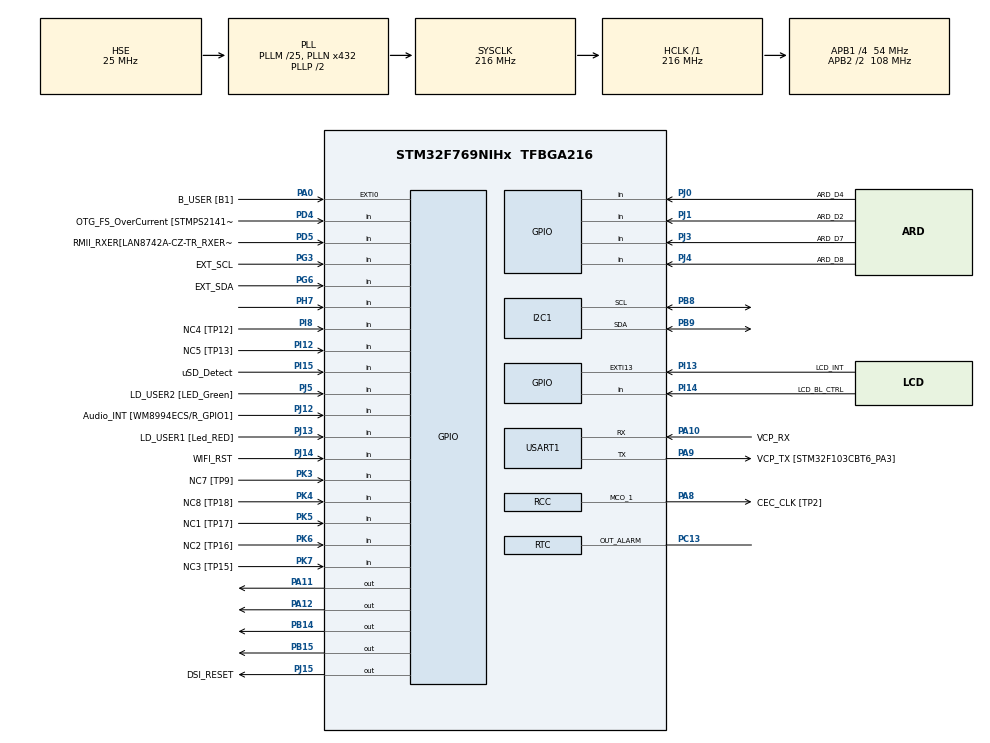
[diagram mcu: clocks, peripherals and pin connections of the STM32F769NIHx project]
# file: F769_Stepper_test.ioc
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DSIHOST_CKN.GPIO_Label=DSI_CK_N
DSIHOST_CKN.Signal=DSIHOST_CKN
DSIHOST_CKP.GPIO_Label=DSI_CK_P
DSIHOST_CKP.Signal=DSIHOST_CKP
DSIHOST_D0N.GPIO_Label=DSI_D0_N
DSIHOST_D0N.Signal=DSIHOST_D0N
DSIHOST_D0P.GPIO_Label=DSI_D0_p
DSIHOST_D0P.Signal=DSIHOST_D0P
DSIHOST_D1N.GPIO_Label=DSI_D1_N
DSIHOST_D1N.Signal=DSIHOST_D1N
DSIHOST_D1P.GPIO_Label=DSI_D1_P
DSIHOST_D1P.Signal=DSIHOST_D1P
I2C1.Timing=0x20404768
Mcu.Family=STM32F7
Mcu.Name=STM32F769NIHx
Mcu.Package=TFBGA216
NVIC.PriorityGroup=NVIC_PRIORITYGROUP_4
NVIC.TIM6_DAC_IRQn=true\:0\:0\:false\:false\:true\:false\:true
NVIC.TimeBase=TIM6_DAC_IRQn
NVIC.TimeBaseIP=TIM6
PA0/WKUP.GPIO_Label=B_USER [B1]
PA0/WKUP.Signal=GPXTI0
PA1.GPIO_Label=RMII_REF_CLK [LAN8742A-CZ-TR_REFCLK0]
PA1.Signal=ETH_REF_CLK
PA10.GPIO_Label=VCP_RX 
PA10.Mode=Asynchronous
PA10.Signal=USART1_RX
PA11.Signal=GPIO_Output
PA12.Signal=GPIO_Output
PA13.GPIO_Label=SWDIO
PA13.Mode=Serial_Wire
PA13.Signal=SYS_JTMS-SWDIO
PA14.GPIO_Label=SWCLK
PA14.Mode=Serial_Wire
PA14.Signal=SYS_JTCK-SWCLK
PA15.GPIO_Label=CEC
PA15.Signal=CEC
PA2.GPIO_Label=RMII_MDIO [LAN8742A-CZ-TR_MDIO]
PA2.Signal=ETH_MDIO
PA3.GPIO_Label=ULPI_D0 [USB3320C-EZK_D0]
PA3.Signal=USB_OTG_HS_ULPI_D0
PA4.GPIO_Label=ARD_A1
PA4.Signal=ADCx_IN4
PA5.GPIO_Label=ULPI_CLK [USB3320C-EZK_CLKOUT]
PA5.Signal=USB_OTG_HS_ULPI_CK
PA6.GPIO_Label=ARD_A0
PA6.Signal=ADCx_IN6
PA7.GPIO_Label=RMII_CRS_DV [LAN8742A-CZ-TR_CRS_DV]
PA7.Signal=ETH_CRS_DV
PA8.GPIO_Label=CEC_CLK [TP2]
PA8.Mode=Clock-out-1
PA8.Signal=RCC_MCO_1
PA9.GPIO_Label=VCP_TX [STM32F103CBT6_PA3]
PA9.GPIO_Mode=GPIO_MODE_AF_PP
PA9.GPIO_PuPd=GPIO_NOPULL
PA9.GPIO_Speed=GPIO_SPEED_FREQ_LOW
PA9.Mode=Asynchronous
PA9.Signal=USART1_TX
PB0.GPIO_Label=ULPI_D1 [USB3320C-EZK_D1]
PB0.Signal=USB_OTG_HS_ULPI_D1
PB1.GPIO_Label=ULPI_D2 [USB3320C-EZK_D2]
PB1.Signal=USB_OTG_HS_ULPI_D2
PB10.GPIO_Label=ULPI_D3 [USB3320C-EZK_D3]
PB10.Signal=USB_OTG_HS_ULPI_D3
PB11.GPIO_Label=ULPI_D4 [USB3320C-EZK_D4]
PB11.Signal=USB_OTG_HS_ULPI_D4
PB12.GPIO_Label=ULPI_D5 [USB3320C-EZK_D5]
PB12.Signal=USB_OTG_HS_ULPI_D5
PB13.GPIO_Label=ULPI_D6 [USB3320C-EZK_D6]
PB13.Signal=USB_OTG_HS_ULPI_D6
PB14.Signal=GPIO_Output
PB15.Signal=GPIO_Output
PB2.Signal=QUADSPI_CLK
PB3.GPIO_Label=uSD_D2
PB3.Signal=SDMMC2_D2
PB4.GPIO_Label=uSD_D3
PB4.Signal=SDMMC2_D3
PB5.GPIO_Label=ULPI_D7 [USB3320C-EZK_D7]
PB5.Signal=USB_OTG_HS_ULPI_D7
PB6.GPIO_Label=QSPI_NCS [N25Q128A13EF840E_S]
PB6.Signal=QUADSPI_BK1_NCS
PB8.Mode=I2C
PB8.Signal=I2C1_SCL
PB9.Mode=I2C
PB9.Signal=I2C1_SDA
PC0.GPIO_Label=ULPI_STP [USB3320C-EZK_STP]
PC0.Signal=USB_OTG_HS_ULPI_STP
PC1.GPIO_Label=RMII_MDC [LAN8742A-CZ-TR_MDC]
PC1.Signal=ETH_MDC
PC10.GPIO_Label=QSPI_D1 [MT25QL512ABB1EW9_DQ1]
PC10.Signal=QUADSPI_BK1_IO1
PC11.GPIO_Label=DFSDM_DATIN5 [TP5]
PC11.Signal=S_DATAIN5DFSDM1
PC12.GPIO_Label=WIFI_RX
PC12.Signal=UART5_TX
PC13.Mode=AlarmA_RoutedAF
PC13.Signal=RTC_OUT_ALARM
PC14/OSC32_IN.GPIO_Label=RCC_OSC32_IN
PC14/OSC32_IN.Mode=LSE-External-Oscillator
PC14/OSC32_IN.Signal=RCC_OSC32_IN
PC15/OSC32_OUT.GPIO_Label=RCC_OSC32_OUT
PC15/OSC32_OUT.Mode=LSE-External-Oscillator
PC15/OSC32_OUT.Signal=RCC_OSC32_OUT
PC2.GPIO_Label=ARD_A2
PC2.Signal=ADCx_IN12
PC4.GPIO_Label=RMII_RXD0 [LAN8742A-CZ-TR_RXD0]
PC4.Signal=ETH_RXD0
PC5.GPIO_Label=RMII_RXD1 [LAN8742A-CZ-TR_RXD1]
PC5.Signal=ETH_RXD1
PC6.GPIO_Label=ARDUINO TX/D1
PC6.Signal=USART6_TX
PC7.GPIO_Label=ARD_D0/RX
PC7.Signal=USART6_RX
PC8.GPIO_Label=ARD_D5/PWM
PC8.Signal=S_TIM3_CH3
PC9.GPIO_Label=QSPI_D0 [N25Q128A13EF840E_DQ0]
PC9.Signal=QUADSPI_BK1_IO0
PD0.GPIO_Label=FMC_D2 [MT48LC4M32B2B5-6A_DQ2]
PD0.Signal=FMC_D2_DA2
PD1.GPIO_Label=FMC_D3 [MT48LC4M32B2B5-6A_DQ3]
PD1.Signal=FMC_D3_DA3
PD10.GPIO_Label=FMC_D15 [MT48LC4M32B2B5-6A_DQ15]
PD10.Signal=FMC_D15_DA15
PD11.GPIO_Label=SPDIF_TX [TP20]
PD11.Signal=SAI2_SD_A
PD13.GPIO_Label=QSPI_D3 [N25Q128A13EF840E_DQ3]
PD13.Signal=QUADSPI_BK1_IO3
PD14.GPIO_Label=FMC_D0 [MT48LC4M32B2B5-6A_DQ0]
PD14.Signal=FMC_D0_DA0
PD15.GPIO_Label=FMC_D1 [MT48LC4M32B2B5-6A_DQ1]
PD15.Signal=FMC_D1_DA1
PD2.GPIO_Label=WIFI_TX
PD2.Signal=UART5_RX
PD3.GPIO_Label=DFSDM_CKOUT [TP102]
PD3.Signal=S_CKOUTDFSDM1
PD4.GPIO_Label=OTG_FS_OverCurrent [STMPS2141STR_Fault]
PD4.Signal=GPIO_Input
PD5.GPIO_Label=RMII_RXER[LAN8742A-CZ-TR_RXERR]
PD5.Signal=GPIO_Input
PD6.GPIO_Label=uSD_CLK
PD6.Signal=SDMMC2_CK
PD7.GPIO_Label=uSD_CMD
PD7.Signal=SDMMC2_CMD
PD8.GPIO_Label=FMC_D13 [MT48LC4M32B2B5-6A_DQ13]
PD8.Signal=FMC_D13_DA13
PD9.GPIO_Label=FMC_D14 [MT48LC4M32B2B5-6A_DQ14]
PD9.Signal=FMC_D14_DA14
PE0.GPIO_Label=FMC_NBL0 [MT48LC4M32B2B5-6A_DQM0]
PE0.Signal=FMC_NBL0
PE1.GPIO_Label=FMC_NBL1 [MT48LC4M32B2B5-6A_DQM1]
PE1.Signal=FMC_NBL1
PE10.GPIO_Label=FMC_D7 [MT48LC4M32B2B5-6A_DQ7]
PE10.Signal=FMC_D7_DA7
PE11.GPIO_Label=FMC_D8 [MT48LC4M32B2B5-6A_DQ8]
PE11.Signal=FMC_D8_DA8
PE12.GPIO_Label=FMC_D9 [MT48LC4M32B2B5-6A_DQ9]
PE12.Signal=FMC_D9_DA9
PE13.GPIO_Label=FMC_D10 [MT48LC4M32B2B5-6A_DQ10]
PE13.Signal=FMC_D10_DA10
PE14.GPIO_Label=FMC_D11 [MT48LC4M32B2B5-6A_DQ11]
PE14.Signal=FMC_D11_DA11
PE15.GPIO_Label=FMC_D12 [MT48LC4M32B2B5-6A_DQ12]
PE15.Signal=FMC_D12_DA12
PE2.GPIO_Label=QSPI_D2 [N25Q128A13EF840E_DQ2]
PE2.Signal=QUADSPI_BK1_IO2
PE3.GPIO_Label=SAI1_SDB [WM8994ECS/R_ADCDAT1]
PE3.Signal=SAI1_SD_B
PE4.GPIO_Label=SAI1_FSA [WM8994ECS/R_LRCLK1]
PE4.Signal=SAI1_FS_A
PE5.GPIO_Label=SAI1_SCKA [WM8994ECS/R_BCLK1]
PE5.Signal=SAI1_SCK_A
PE6.GPIO_Label=SAI1_SDA [WM8994ECS/R_DACDAT1]
PE6.Signal=SAI1_SD_A
PE7.GPIO_Label=FMC_D4 [MT48LC4M32B2B5-6A_DQ4]
PE7.Signal=FMC_D4_DA4
PE8.GPIO_Label=FMC_D5 [MT48LC4M32B2B5-6A_DQ5]
PE8.Signal=FMC_D5_DA5
PE9.GPIO_Label=FMC_D6 [MT48LC4M32B2B5-6A_DQ6]
PE9.Signal=FMC_D6_DA6
PF0.GPIO_Label=FMC_A0 [MT48LC4M32B2B5-6A_A0]
PF0.Signal=FMC_A0
PF1.GPIO_Label=FMC_A1 [MT48LC4M32B2B5-6A_A1]
PF1.Signal=FMC_A1
PF10.GPIO_Label=ARDUINO A1
PF10.GPIO_Mode=GPIO_MODE_ANALOG
PF10.GPIO_PuPd=GPIO_NOPULL
PF10.Signal=ADC3_IN8
PF11.GPIO_Label=FMC_SDNRAS [MT48LC4M32B2B5-6A_RAS]
PF11.Signal=FMC_SDNRAS
PF12.GPIO_Label=FMC_A6 [MT48LC4M32B2B5-6A_A6]
PF12.Signal=FMC_A6
PF13.GPIO_Label=FMC_A7 [MT48LC4M32B2B5-6A_A7]
PF13.Signal=FMC_A7
PF14.GPIO_Label=FMC_A8 [MT48LC4M32B2B5-6A_A8]
PF14.Signal=FMC_A8
PF15.GPIO_Label=FMC_A9 [MT48LC4M32B2B5-6A_A9]
PF15.Signal=FMC_A9
PF2.GPIO_Label=FMC_A2 [MT48LC4M32B2B5-6A_A2]
PF2.Signal=FMC_A2
PF3.GPIO_Label=FMC_A3 [MT48LC4M32B2B5-6A_A3]
PF3.Signal=FMC_A3
PF4.GPIO_Label=FMC_A4 [MT48LC4M32B2B5-6A_A4]
PF4.Signal=FMC_A4
PF5.GPIO_Label=FMC_A5 [MT48LC4M32B2B5-6A_A5]
PF5.Signal=FMC_A5
PF6.GPIO_Label=ARD_D3/PWM
PF6.Signal=S_TIM10_CH1
PF7.GPIO_Label=ARD_D6/PWM
PF7.Signal=S_TIM11_CH1
PF8.GPIO_Label=ARDUINO A3
PF8.GPIO_Mode=GPIO_MODE_ANALOG
PF8.GPIO_PuPd=GPIO_NOPULL
PF8.Signal=ADC3_IN6
PF9.GPIO_Label=ARDUINO A2
PF9.GPIO_Mode=GPIO_MODE_ANALOG
PF9.GPIO_PuPd=GPIO_NOPULL
PF9.Signal=ADC3_IN7
PG0.GPIO_Label=FMC_A10 [MT48LC4M32B2B5-6A_A10]
PG0.Signal=FMC_A10
PG1.GPIO_Label=FMC_A11 [MT48LC4M32B2B5-6A_A11]
PG1.Signal=FMC_A11
PG10.GPIO_Label=uSD_D1
PG10.Signal=SDMMC2_D1
PG11.GPIO_Label=RMII_TX_EN [LAN8742A-CZ-TR_TXEN]
PG11.Signal=ETH_TX_EN
PG13.GPIO_Label=RMII_TXD0 [LAN8742A-CZ-TR_TXD0]
PG13.Signal=ETH_TXD0
PG14.GPIO_Label=RMII_TXD1 [LAN8742A-CZ-TR_TXD1]
PG14.Signal=ETH_TXD1
PG15.GPIO_Label=FMC_SDNCAS [MT48LC4M32B2B5-6A_CAS]
PG15.Signal=FMC_SDNCAS
PG2.GPIO_Label=FMC_A12
PG2.Signal=FMC_A12
PG3.GPIO_Label=EXT_SCL
PG3.Signal=GPIO_Input
PG4.GPIO_Label=FMC_BA0 [MT48LC4M32B2B5-6A_BA0]
PG4.Signal=FMC_A14_BA0
PG5.GPIO_Label=FMC_BA1 [MT48LC4M32B2B5-6A_BA1]
PG5.Signal=FMC_A15_BA1
PG6.GPIO_Label=EXT_SDA
PG6.Signal=GPIO_Input
PG7.GPIO_Label=SAI1_MCLKA [WM8994ECS/R_MCLK1]
PG7.Signal=SAI1_MCLK_A
PG8.GPIO_Label=FMC_SDCLK [MT48LC4M32B2B5-6A_CLK]
PG8.Signal=FMC_SDCLK
PG9.GPIO_Label=uSD_D0
PG9.Signal=SDMMC2_D0
PH0/OSC_IN.GPIO_Label=OSC_25M [NZ2520SB-25.00M_OUT]
PH0/OSC_IN.Mode=HSE-External-Oscillator
PH0/OSC_IN.Signal=RCC_OSC_IN
PH1/OSC_OUT.Mode=HSE-External-Oscillator
PH1/OSC_OUT.Signal=RCC_OSC_OUT
PH10.GPIO_Label=FMC_D18 [MT48LC4M32B2B5-6A_DQ18]
PH10.Signal=FMC_D18
PH11.GPIO_Label=FMC_D19 [MT48LC4M32B2B5-6A_DQ19]
PH11.Signal=FMC_D19
PH12.GPIO_Label=D20
PH12.Signal=FMC_D20
PH13.GPIO_Label=D21
PH13.Signal=FMC_D21
PH14.GPIO_Label=D22
PH14.Signal=FMC_D22
PH15.GPIO_Label=D23
PH15.Signal=FMC_D23
PH2.GPIO_Label=FMC_SDCKE0 [MT48LC4M32B2B5-6A_CKE]
PH2.Signal=FMC_SDCKE0
PH3.GPIO_Label=FMC_SDNE0 [MT48LC4M32B2B5-6A_CS]
PH3.Signal=FMC_SDNE0
PH4.GPIO_Label=ULPI_NXT [USB3320C-EZK_NXT]
PH4.Signal=USB_OTG_HS_ULPI_NXT
PH5.GPIO_Label=FMC_SDNME [MT48LC4M32B2B5-6A_WE]
PH5.Signal=FMC_SDNWE
PH6.GPIO_Label=ARDUINO PWM/D6
PH6.Signal=S_TIM12_CH1
PH7.Signal=GPIO_Input
PH8.GPIO_Label=FMC_D16 [MT48LC4M32B2B5-6A_DQ16]
PH8.Signal=FMC_D16
PH9.GPIO_Label=FMC_D\!7 [MT48LC4M32B2B5-6A_DQ17]
PH9.Signal=FMC_D17
PI0.GPIO_Label=D24
PI0.Signal=FMC_D24
PI1.GPIO_Label=D25
PI1.Signal=FMC_D25
PI10.GPIO_Label=D31
PI10.Signal=FMC_D31
PI11.GPIO_Label=ULPI_DIR [USB3320C-EZK_DIR]
PI11.Signal=USB_OTG_HS_ULPI_DIR
PI12.GPIO_Label=NC5 [TP13]
PI12.Signal=GPIO_Input
PI13.GPIO_Label=LCD_INT
PI13.GPIO_ModeDefaultEXTI=GPIO_MODE_EVT_RISING
PI13.Signal=GPXTI13
PI14.GPIO_Label=LCD_BL_CTRL
PI14.Signal=GPIO_Input
PI15.GPIO_Label=uSD_Detect
PI15.Signal=GPIO_Input
PI2.GPIO_Label=D26
PI2.Signal=FMC_D26
PI3.GPIO_Label=D27
PI3.Signal=FMC_D27
PI4.GPIO_Label=FMC_NBL2 [MT48LC4M32B2B5-6A_DQM2]
PI4.Signal=FMC_NBL2
PI5.GPIO_Label=FMC_NBL3 [MT48LC4M32B2B5-6A_DQM3]
PI5.Signal=FMC_NBL3
PI6.GPIO_Label=D28
PI6.Signal=FMC_D28
PI8.GPIO_Label=NC4 [TP12]
PI8.Signal=GPIO_Input
PI9.GPIO_Label=D30
PI9.Signal=FMC_D30
PJ0.GPIO_Label=ARD_D4
PJ0.Signal=GPIO_Input
PJ1.GPIO_Label=ARD_D2
PJ1.Signal=GPIO_Input
PJ12.GPIO_Label=Audio_INT [WM8994ECS/R_GPIO1]
PJ12.Signal=GPIO_Input
PJ13.GPIO_Label=LD_USER1 [Led_RED]
PJ13.Signal=GPIO_Input
PJ14.GPIO_Label=WIFI_RST
PJ14.Signal=GPIO_Input
PJ15.GPIO_Label=DSI_RESET
PJ15.Signal=GPIO_Output
PJ2.GPIO_Label=DSIHOST_TE
PJ2.Signal=DSIHOST_TE
PJ3.GPIO_Label=ARD_D7
PJ3.Signal=GPIO_Input
PJ4.GPIO_Label=ARD_D8
PJ4.Signal=GPIO_Input
PJ5.GPIO_Label=LD_USER2 [LED_Green]
PJ5.Signal=GPIO_Input
PK3.GPIO_Label=NC7 [TP9]
PK3.Signal=GPIO_Input
PK4.GPIO_Label=NC8 [TP18]
PK4.Signal=GPIO_Input
PK5.GPIO_Label=NC1 [TP17]
PK5.Signal=GPIO_Input
PK6.GPIO_Label=NC2 [TP16]
PK6.Signal=GPIO_Input
PK7.GPIO_Label=NC3 [TP15]
PK7.Signal=GPIO_Input
ProjectManager.HeapSize=0x200
ProjectManager.StackSize=0x400
ProjectManager.TargetToolchain=STM32CubeIDE
RCC.AHBFreq_Value=216000000
RCC.APB1CLKDivider=RCC_HCLK_DIV4
RCC.APB1Freq_Value=54000000
RCC.APB1TimFreq_Value=108000000
RCC.APB2CLKDivider=RCC_HCLK_DIV2
RCC.APB2Freq_Value=108000000
RCC.APB2TimFreq_Value=216000000
RCC.CortexFreq_Value=216000000
RCC.HCLKFreq_Value=216000000
RCC.HSE_VALUE=25000000
RCC.HSI_VALUE=16000000
RCC.PLL48CLockSelection=RCC_CLK48SOURCE_PLLSAIP
RCC.PLLM=25
RCC.PLLN=432
RCC.PLLQ=4
RCC.PLLSAIP=RCC_PLLSAIP_DIV4
RCC.PLLSAIQ=3
RCC.PLLSourceVirtual=RCC_PLLSOURCE_HSE
RCC.SDMMC2ClockSelection=RCC_SDMMC2CLKSOURCE_CLK48
RCC.SYSCLKFreq_VALUE=216000000
RCC.SYSCLKSource=RCC_SYSCLKSOURCE_PLLCLK
RCC.USBFreq_Value=48000000
RCC.VCOOutputFreq_Value=432000000
RTC.Alarm-AlarmA_RoutedAF=RTC_ALARM_A
RTC.Alarm_B-Alarm\ B=RTC_ALARM_B
SH.ADCx_IN12.0=ADC1_IN12
SH.ADCx_IN4.0=ADC1_IN4
SH.ADCx_IN6.0=ADC1_IN6
SH.FMC_A0.0=FMC_A0
SH.FMC_A1.0=FMC_A1
SH.FMC_A10.0=FMC_A10
SH.FMC_A11.0=FMC_A11
SH.FMC_A12.0=FMC_A12
SH.FMC_A14_BA0.0=FMC_BA0
SH.FMC_A15_BA1.0=FMC_BA1
SH.FMC_A2.0=FMC_A2
SH.FMC_A3.0=FMC_A3
SH.FMC_A4.0=FMC_A4
SH.FMC_A5.0=FMC_A5
SH.FMC_A6.0=FMC_A6
SH.FMC_A7.0=FMC_A7
SH.FMC_A8.0=FMC_A8
SH.FMC_A9.0=FMC_A9
SH.FMC_D0_DA0.0=FMC_D0
SH.FMC_D10_DA10.0=FMC_D10
SH.FMC_D11_DA11.0=FMC_D11
SH.FMC_D12_DA12.0=FMC_D12
SH.FMC_D13_DA13.0=FMC_D13
SH.FMC_D14_DA14.0=FMC_D14
SH.FMC_D15_DA15.0=FMC_D15
SH.FMC_D16.0=FMC_D16
SH.FMC_D17.0=FMC_D17
SH.FMC_D18.0=FMC_D18
SH.FMC_D19.0=FMC_D19
SH.FMC_D1_DA1.0=FMC_D1
SH.FMC_D20.0=FMC_D20
SH.FMC_D21.0=FMC_D21
SH.FMC_D22.0=FMC_D22
SH.FMC_D23.0=FMC_D23
SH.FMC_D24.0=FMC_D24
SH.FMC_D25.0=FMC_D25
SH.FMC_D26.0=FMC_D26
SH.FMC_D27.0=FMC_D27
SH.FMC_D28.0=FMC_D28
SH.FMC_D2_DA2.0=FMC_D2
SH.FMC_D30.0=FMC_D30
SH.FMC_D31.0=FMC_D31
SH.FMC_D3_DA3.0=FMC_D3
SH.FMC_D4_DA4.0=FMC_D4
SH.FMC_D5_DA5.0=FMC_D5
SH.FMC_D6_DA6.0=FMC_D6
SH.FMC_D7_DA7.0=FMC_D7
SH.FMC_D8_DA8.0=FMC_D8
SH.FMC_D9_DA9.0=FMC_D9
SH.FMC_NBL0.0=FMC_NBL0
SH.FMC_NBL1.0=FMC_NBL1
SH.FMC_NBL2.0=FMC_NBL2
SH.FMC_NBL3.0=FMC_NBL3
SH.FMC_SDCLK.0=FMC_SDCLK
SH.FMC_SDNCAS.0=FMC_SDNCAS
SH.FMC_SDNRAS.0=FMC_SDNRAS
SH.FMC_SDNWE.0=FMC_SDNWE
SH.S_CKOUTDFSDM1.0=DFSDM1_CKOUT
SH.S_DATAIN5DFSDM1.0=DFSDM1_DATIN5
SH.S_TIM10_CH1.0=TIM10_CH1
SH.S_TIM11_CH1.0=TIM11_CH1
SH.S_TIM12_CH1.0=TIM12_CH1
SH.S_TIM3_CH3.0=TIM3_CH3
USART1.VirtualMode-Asynchronous=VM_ASYNC
VP_RTC_VS_RTC_Activate.Mode=RTC_Enabled
VP_RTC_VS_RTC_Alarm_B_Intern.Mode=Alarm B
VP_RTC_VS_RTC_Calendar.Mode=RTC_Calendar
VP_SYS_VS_tim6.Mode=TIM6
VP_TIM1_VS_ClockSourceINT.Mode=Internal
board=32F769IDISCOVERY

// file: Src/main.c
/* USER CODE BEGIN Header */
/**
 ******************************************************************************
 * @file           : main.c
 * @brief          : Main program body
 ******************************************************************************
 * @attention
 *
 * <h2><center>&copy; Copyright (c) 2019 STMicroelectronics.
 * All rights reserved.</center></h2>
 *
 * This software component is licensed by ST under BSD 3-Clause license,
 * the "License"; You may not use this file except in compliance with the
 * License. You may obtain a copy of the License at:
 *                        opensource.org/licenses/BSD-3-Clause
 *
 ******************************************************************************
 */
/* USER CODE END Header */

#include "main.h"
#include <stdio.h>

/* USER CODE BEGIN Includes */
#include "stm32f7xx_hal_uart.h"
//#include "ADXL345_Interface.h"
#include "Environment.h"
#include "Agent.h"
/* USER CODE END Includes */

I2C_HandleTypeDef hi2c1;

RTC_HandleTypeDef hrtc;

TIM_HandleTypeDef htim1;

UART_HandleTypeDef huart1;

void SystemClock_Config(void);
static void MX_GPIO_Init(void);
static void MX_RTC_Init(void);
static void MX_TIM1_Init(void);
static void MX_USART1_UART_Init(void);
static void MX_I2C1_Init(void);
/* USER CODE BEGIN PFP */

int _write(int fd, char *ptr, int len)
{
	HAL_UART_Transmit(&huart1, (uint8_t *)ptr, len, 0xFFFF);
	return len;
}

/* USER CODE END PFP */

int main(void)
{

  /* MCU Configuration--------------------------------------------------------*/

  /* Reset of all peripherals, Initializes the Flash interface and the Systick. */
  HAL_Init();

  /* Configure the system clock */
  SystemClock_Config();

  /* Initialize all configured peripherals */
  MX_GPIO_Init();
  MX_RTC_Init();
  MX_TIM1_Init();
  MX_USART1_UART_Init();
  MX_I2C1_Init();

  /* Infinite loop */
  /* USER CODE BEGIN WHILE */

	printf("Starting...\n");
	srand(time(NULL));

	ADXL345_Init(&hi2c1);
	HAL_Delay(10);
	printf("Device ID : 0x%02x\n", getDeviceID(&hi2c1));
	HAL_Delay(10);
	setDataFormatControl(&hi2c1,0x0B);
	HAL_Delay(10);
	setDataRate(&hi2c1,ADXL345_3200HZ);
	HAL_Delay(10);
	setPowerControl(&hi2c1,MeasurementMode);
	HAL_Delay(10);
	printf("ADXL345 init complete\n");

	EnvironmentConfiguration *env = EnvironmentInit(&hi2c1);
	EnvReturn state = EnvReset(env);

	AgentConfiguration *agent = AgentInit(env->observation_space, env->action_space);
	AgentPrintQMatrix(agent);

	while (1)
	{
		int action = AgentAction(agent, state.state);
		EnvReturn new_state = EnvMakeAction(env, action);
		printf("AgentSay: %d, State: %d, Reward: %d, Epsilon: f%d\n",action, new_state.state, new_state.reward, (int)(agent->epsilon*1000));
		AgentLearn(agent, state.state, action, new_state.reward, new_state.state);

		//state = new_state;
		state = EnvReset(env);
		HAL_Delay (20);
    /* USER CODE END WHILE */

	}
}

void SystemClock_Config(void)
{
  RCC_OscInitTypeDef RCC_OscInitStruct = {0};
  RCC_ClkInitTypeDef RCC_ClkInitStruct = {0};
  RCC_PeriphCLKInitTypeDef PeriphClkInitStruct = {0};

  /** Configure LSE Drive Capability
  */
  HAL_PWR_EnableBkUpAccess();
  /** Configure the main internal regulator output voltage
  */
  __HAL_RCC_PWR_CLK_ENABLE();
  __HAL_PWR_VOLTAGESCALING_CONFIG(PWR_REGULATOR_VOLTAGE_SCALE1);
  /** Initializes the CPU, AHB and APB busses clocks
  */
  RCC_OscInitStruct.OscillatorType = RCC_OSCILLATORTYPE_HSI|RCC_OSCILLATORTYPE_LSI
                              |RCC_OSCILLATORTYPE_HSE;
  RCC_OscInitStruct.HSEState = RCC_HSE_ON;
  RCC_OscInitStruct.HSIState = RCC_HSI_ON;
  RCC_OscInitStruct.HSICalibrationValue = RCC_HSICALIBRATION_DEFAULT;
  RCC_OscInitStruct.LSIState = RCC_LSI_ON;
  RCC_OscInitStruct.PLL.PLLState = RCC_PLL_ON;
  RCC_OscInitStruct.PLL.PLLSource = RCC_PLLSOURCE_HSE;
  RCC_OscInitStruct.PLL.PLLM = 25;
  RCC_OscInitStruct.PLL.PLLN = 432;
  RCC_OscInitStruct.PLL.PLLP = RCC_PLLP_DIV2;
  RCC_OscInitStruct.PLL.PLLQ = 4;
  if (HAL_RCC_OscConfig(&RCC_OscInitStruct) != HAL_OK)
  {
    Error_Handler();
  }
  /** Activate the Over-Drive mode
  */
  if (HAL_PWREx_EnableOverDrive() != HAL_OK)
  {
    Error_Handler();
  }
  /** Initializes the CPU, AHB and APB busses clocks
  */
  RCC_ClkInitStruct.ClockType = RCC_CLOCKTYPE_HCLK|RCC_CLOCKTYPE_SYSCLK
                              |RCC_CLOCKTYPE_PCLK1|RCC_CLOCKTYPE_PCLK2;
  RCC_ClkInitStruct.SYSCLKSource = RCC_SYSCLKSOURCE_PLLCLK;
  RCC_ClkInitStruct.AHBCLKDivider = RCC_SYSCLK_DIV1;
  RCC_ClkInitStruct.APB1CLKDivider = RCC_HCLK_DIV4;
  RCC_ClkInitStruct.APB2CLKDivider = RCC_HCLK_DIV2;

  if (HAL_RCC_ClockConfig(&RCC_ClkInitStruct, FLASH_LATENCY_7) != HAL_OK)
  {
    Error_Handler();
  }
  PeriphClkInitStruct.PeriphClockSelection = RCC_PERIPHCLK_RTC|RCC_PERIPHCLK_USART1
                              |RCC_PERIPHCLK_I2C1;
  PeriphClkInitStruct.RTCClockSelection = RCC_RTCCLKSOURCE_LSI;
  PeriphClkInitStruct.Usart1ClockSelection = RCC_USART1CLKSOURCE_PCLK2;
  PeriphClkInitStruct.I2c1ClockSelection = RCC_I2C1CLKSOURCE_PCLK1;
  if (HAL_RCCEx_PeriphCLKConfig(&PeriphClkInitStruct) != HAL_OK)
  {
    Error_Handler();
  }
  HAL_RCC_MCOConfig(RCC_MCO1, RCC_MCO1SOURCE_HSI, RCC_MCODIV_1);
}

static void MX_I2C1_Init(void)
{

  hi2c1.Instance = I2C1;
  hi2c1.Init.Timing = 0x20404768;
  hi2c1.Init.OwnAddress1 = 0;
  hi2c1.Init.AddressingMode = I2C_ADDRESSINGMODE_7BIT;
  hi2c1.Init.DualAddressMode = I2C_DUALADDRESS_DISABLE;
  hi2c1.Init.OwnAddress2 = 0;
  hi2c1.Init.OwnAddress2Masks = I2C_OA2_NOMASK;
  hi2c1.Init.GeneralCallMode = I2C_GENERALCALL_DISABLE;
  hi2c1.Init.NoStretchMode = I2C_NOSTRETCH_DISABLE;
  if (HAL_I2C_Init(&hi2c1) != HAL_OK)
  {
    Error_Handler();
  }
  /** Configure Analogue filter
  */
  if (HAL_I2CEx_ConfigAnalogFilter(&hi2c1, I2C_ANALOGFILTER_ENABLE) != HAL_OK)
  {
    Error_Handler();
  }
  /** Configure Digital filter
  */
  if (HAL_I2CEx_ConfigDigitalFilter(&hi2c1, 0) != HAL_OK)
  {
    Error_Handler();
  }

}

static void MX_RTC_Init(void)
{

  RTC_TimeTypeDef sTime = {0};
  RTC_DateTypeDef sDate = {0};
  RTC_AlarmTypeDef sAlarm = {0};

  /** Initialize RTC Only
  */
  hrtc.Instance = RTC;
  hrtc.Init.HourFormat = RTC_HOURFORMAT_24;
  hrtc.Init.AsynchPrediv = 127;
  hrtc.Init.SynchPrediv = 255;
  hrtc.Init.OutPut = RTC_OUTPUT_ALARMA;
  hrtc.Init.OutPutPolarity = RTC_OUTPUT_POLARITY_HIGH;
  hrtc.Init.OutPutType = RTC_OUTPUT_TYPE_OPENDRAIN;
  if (HAL_RTC_Init(&hrtc) != HAL_OK)
  {
    Error_Handler();
  }

  /** Initialize RTC and set the Time and Date
  */
  sTime.Hours = 0x0;
  sTime.Minutes = 0x0;
  sTime.Seconds = 0x0;
  sTime.DayLightSaving = RTC_DAYLIGHTSAVING_NONE;
  sTime.StoreOperation = RTC_STOREOPERATION_RESET;
  if (HAL_RTC_SetTime(&hrtc, &sTime, RTC_FORMAT_BCD) != HAL_OK)
  {
    Error_Handler();
  }
  sDate.WeekDay = RTC_WEEKDAY_MONDAY;
  sDate.Month = RTC_MONTH_JANUARY;
  sDate.Date = 0x1;
  sDate.Year = 0x0;
  if (HAL_RTC_SetDate(&hrtc, &sDate, RTC_FORMAT_BCD) != HAL_OK)
  {
    Error_Handler();
  }
  /** Enable the Alarm A
  */
  sAlarm.AlarmTime.Hours = 0x0;
  sAlarm.AlarmTime.Minutes = 0x0;
  sAlarm.AlarmTime.Seconds = 0x0;
  sAlarm.AlarmTime.SubSeconds = 0x0;
  sAlarm.AlarmTime.DayLightSaving = RTC_DAYLIGHTSAVING_NONE;
  sAlarm.AlarmTime.StoreOperation = RTC_STOREOPERATION_RESET;
  sAlarm.AlarmMask = RTC_ALARMMASK_NONE;
  sAlarm.AlarmSubSecondMask = RTC_ALARMSUBSECONDMASK_ALL;
  sAlarm.AlarmDateWeekDaySel = RTC_ALARMDATEWEEKDAYSEL_DATE;
  sAlarm.AlarmDateWeekDay = 0x1;
  sAlarm.Alarm = RTC_ALARM_A;
  if (HAL_RTC_SetAlarm(&hrtc, &sAlarm, RTC_FORMAT_BCD) != HAL_OK)
  {
    Error_Handler();
  }
  /** Enable the Alarm B
  */
  sAlarm.AlarmDateWeekDay = 0x1;
  sAlarm.Alarm = RTC_ALARM_B;
  if (HAL_RTC_SetAlarm(&hrtc, &sAlarm, RTC_FORMAT_BCD) != HAL_OK)
  {
    Error_Handler();
  }

}

static void MX_TIM1_Init(void)
{

  TIM_ClockConfigTypeDef sClockSourceConfig = {0};
  TIM_MasterConfigTypeDef sMasterConfig = {0};

  htim1.Instance = TIM1;
  htim1.Init.Prescaler = 0;
  htim1.Init.CounterMode = TIM_COUNTERMODE_UP;
  htim1.Init.Period = 0;
  htim1.Init.ClockDivision = TIM_CLOCKDIVISION_DIV1;
  htim1.Init.RepetitionCounter = 0;
  htim1.Init.AutoReloadPreload = TIM_AUTORELOAD_PRELOAD_DISABLE;
  if (HAL_TIM_Base_Init(&htim1) != HAL_OK)
  {
    Error_Handler();
  }
  sClockSourceConfig.ClockSource = TIM_CLOCKSOURCE_INTERNAL;
  if (HAL_TIM_ConfigClockSource(&htim1, &sClockSourceConfig) != HAL_OK)
  {
    Error_Handler();
  }
  sMasterConfig.MasterOutputTrigger = TIM_TRGO_RESET;
  sMasterConfig.MasterOutputTrigger2 = TIM_TRGO2_RESET;
  sMasterConfig.MasterSlaveMode = TIM_MASTERSLAVEMODE_DISABLE;
  if (HAL_TIMEx_MasterConfigSynchronization(&htim1, &sMasterConfig) != HAL_OK)
  {
    Error_Handler();
  }

}

static void MX_USART1_UART_Init(void)
{

  huart1.Instance = USART1;
  huart1.Init.BaudRate = 115200;
  huart1.Init.WordLength = UART_WORDLENGTH_8B;
  huart1.Init.StopBits = UART_STOPBITS_1;
  huart1.Init.Parity = UART_PARITY_NONE;
  huart1.Init.Mode = UART_MODE_TX_RX;
  huart1.Init.HwFlowCtl = UART_HWCONTROL_NONE;
  huart1.Init.OverSampling = UART_OVERSAMPLING_16;
  huart1.Init.OneBitSampling = UART_ONE_BIT_SAMPLE_DISABLE;
  huart1.AdvancedInit.AdvFeatureInit = UART_ADVFEATURE_NO_INIT;
  if (HAL_UART_Init(&huart1) != HAL_OK)
  {
    Error_Handler();
  }

}

static void MX_GPIO_Init(void)
{
  GPIO_InitTypeDef GPIO_InitStruct = {0};

  /* GPIO Ports Clock Enable */
  __HAL_RCC_GPIOE_CLK_ENABLE();
  __HAL_RCC_GPIOG_CLK_ENABLE();
  __HAL_RCC_GPIOB_CLK_ENABLE();
  __HAL_RCC_GPIOD_CLK_ENABLE();
  __HAL_RCC_GPIOC_CLK_ENABLE();
  __HAL_RCC_GPIOA_CLK_ENABLE();
  __HAL_RCC_GPIOJ_CLK_ENABLE();
  __HAL_RCC_GPIOI_CLK_ENABLE();
  __HAL_RCC_GPIOK_CLK_ENABLE();
  __HAL_RCC_GPIOF_CLK_ENABLE();
  __HAL_RCC_GPIOH_CLK_ENABLE();

  /*Configure GPIO pin Output Level */
  HAL_GPIO_WritePin(GPIOA, GPIO_PIN_12|GPIO_PIN_11, GPIO_PIN_RESET);

  /*Configure GPIO pin Output Level */
  HAL_GPIO_WritePin(DSI_RESET_GPIO_Port, DSI_RESET_Pin, GPIO_PIN_RESET);

  /*Configure GPIO pin Output Level */
  HAL_GPIO_WritePin(GPIOB, GPIO_PIN_14|GPIO_PIN_15, GPIO_PIN_RESET);

  /*Configure GPIO pins : SAI1_FSA_Pin SAI1_SDB_Pin SAI1_SCKA_Pin SAI1_SDA_Pin */
  GPIO_InitStruct.Pin = SAI1_FSA_Pin|SAI1_SDB_Pin|SAI1_SCKA_Pin|SAI1_SDA_Pin;
  GPIO_InitStruct.Mode = GPIO_MODE_AF_PP;
  GPIO_InitStruct.Pull = GPIO_NOPULL;
  GPIO_InitStruct.Speed = GPIO_SPEED_FREQ_LOW;
  GPIO_InitStruct.Alternate = GPIO_AF6_SAI1;
  HAL_GPIO_Init(GPIOE, &GPIO_InitStruct);

  /*Configure GPIO pin : QSPI_D2_Pin */
  GPIO_InitStruct.Pin = QSPI_D2_Pin;
  GPIO_InitStruct.Mode = GPIO_MODE_AF_PP;
  GPIO_InitStruct.Pull = GPIO_NOPULL;
  GPIO_InitStruct.Speed = GPIO_SPEED_FREQ_VERY_HIGH;
  GPIO_InitStruct.Alternate = GPIO_AF9_QUADSPI;
  HAL_GPIO_Init(QSPI_D2_GPIO_Port, &GPIO_InitStruct);

  /*Configure GPIO pins : RMII_TXD1_Pin RMII_TXD0_Pin RMII_TX_EN_Pin */
  GPIO_InitStruct.Pin = RMII_TXD1_Pin|RMII_TXD0_Pin|RMII_TX_EN_Pin;
  GPIO_InitStruct.Mode = GPIO_MODE_AF_PP;
  GPIO_InitStruct.Pull = GPIO_NOPULL;
  GPIO_InitStruct.Speed = GPIO_SPEED_FREQ_VERY_HIGH;
  GPIO_InitStruct.Alternate = GPIO_AF11_ETH;
  HAL_GPIO_Init(GPIOG, &GPIO_InitStruct);

  /*Configure GPIO pins : FMC_NBL1_Pin FMC_NBL0_Pin FMC_D5_Pin FMC_D6_Pin
                           FMC_D8_Pin FMC_D11_Pin FMC_D4_Pin FMC_D7_Pin
                           FMC_D9_Pin FMC_D12_Pin FMC_D10_Pin */
  GPIO_InitStruct.Pin = FMC_NBL1_Pin|FMC_NBL0_Pin|FMC_D5_Pin|FMC_D6_Pin
                          |FMC_D8_Pin|FMC_D11_Pin|FMC_D4_Pin|FMC_D7_Pin
                          |FMC_D9_Pin|FMC_D12_Pin|FMC_D10_Pin;
  GPIO_InitStruct.Mode = GPIO_MODE_AF_PP;
  GPIO_InitStruct.Pull = GPIO_NOPULL;
  GPIO_InitStruct.Speed = GPIO_SPEED_FREQ_VERY_HIGH;
  GPIO_InitStruct.Alternate = GPIO_AF12_FMC;
  HAL_GPIO_Init(GPIOE, &GPIO_InitStruct);

  /*Configure GPIO pins : ULPI_D7_Pin ULPI_D6_Pin ULPI_D5_Pin ULPI_D3_Pin
                           ULPI_D2_Pin ULPI_D1_Pin ULPI_D4_Pin */
  GPIO_InitStruct.Pin = ULPI_D7_Pin|ULPI_D6_Pin|ULPI_D5_Pin|ULPI_D3_Pin
                          |ULPI_D2_Pin|ULPI_D1_Pin|ULPI_D4_Pin;
  GPIO_InitStruct.Mode = GPIO_MODE_AF_PP;
  GPIO_InitStruct.Pull = GPIO_NOPULL;
  GPIO_InitStruct.Speed = GPIO_SPEED_FREQ_VERY_HIGH;
  GPIO_InitStruct.Alternate = GPIO_AF10_OTG_HS;
  HAL_GPIO_Init(GPIOB, &GPIO_InitStruct);

  /*Configure GPIO pins : uSD_D3_Pin uSD_D2_Pin */
  GPIO_InitStruct.Pin = uSD_D3_Pin|uSD_D2_Pin;
  GPIO_InitStruct.Mode = GPIO_MODE_AF_PP;
  GPIO_InitStruct.Pull = GPIO_NOPULL;
  GPIO_InitStruct.Speed = GPIO_SPEED_FREQ_VERY_HIGH;
  GPIO_InitStruct.Alternate = GPIO_AF10_SDMMC2;
  HAL_GPIO_Init(GPIOB, &GPIO_InitStruct);

  /*Configure GPIO pins : uSD_CMD_Pin uSD_CLK_Pin */
  GPIO_InitStruct.Pin = uSD_CMD_Pin|uSD_CLK_Pin;
  GPIO_InitStruct.Mode = GPIO_MODE_AF_PP;
  GPIO_InitStruct.Pull = GPIO_NOPULL;
  GPIO_InitStruct.Speed = GPIO_SPEED_FREQ_VERY_HIGH;
  GPIO_InitStruct.Alternate = GPIO_AF11_SDMMC2;
  HAL_GPIO_Init(GPIOD, &GPIO_InitStruct);

  /*Configure GPIO pin : WIFI_RX_Pin */
  GPIO_InitStruct.Pin = WIFI_RX_Pin;
  GPIO_InitStruct.Mode = GPIO_MODE_AF_PP;
  GPIO_InitStruct.Pull = GPIO_NOPULL;
  GPIO_InitStruct.Speed = GPIO_SPEED_FREQ_VERY_HIGH;
  GPIO_InitStruct.Alternate = GPIO_AF8_UART5;
  HAL_GPIO_Init(WIFI_RX_GPIO_Port, &GPIO_InitStruct);

  /*Configure GPIO pin : CEC_Pin */
  GPIO_InitStruct.Pin = CEC_Pin;
  GPIO_InitStruct.Mode = GPIO_MODE_AF_OD;
  GPIO_InitStruct.Pull = GPIO_NOPULL;
  GPIO_InitStruct.Speed = GPIO_SPEED_FREQ_LOW;
  GPIO_InitStruct.Alternate = GPIO_AF4_CEC;
  HAL_GPIO_Init(CEC_GPIO_Port, &GPIO_InitStruct);

  /*Configure GPIO pin : QSPI_NCS_Pin */
  GPIO_InitStruct.Pin = QSPI_NCS_Pin;
  GPIO_InitStruct.Mode = GPIO_MODE_AF_PP;
  GPIO_InitStruct.Pull = GPIO_NOPULL;
  GPIO_InitStruct.Speed = GPIO_SPEED_FREQ_VERY_HIGH;
  GPIO_InitStruct.Alternate = GPIO_AF10_QUADSPI;
  HAL_GPIO_Init(QSPI_NCS_GPIO_Port, &GPIO_InitStruct);

  /*Configure GPIO pins : FMC_SDNCAS_Pin FMC_SDCLK_Pin FMC_A11_Pin FMC_A12_Pin
                           FMC_A10_Pin FMC_BA1_Pin FMC_BA0_Pin */
  GPIO_InitStruct.Pin = FMC_SDNCAS_Pin|FMC_SDCLK_Pin|FMC_A11_Pin|FMC_A12_Pin
                          |FMC_A10_Pin|FMC_BA1_Pin|FMC_BA0_Pin;
  GPIO_InitStruct.Mode = GPIO_MODE_AF_PP;
  GPIO_InitStruct.Pull = GPIO_NOPULL;
  GPIO_InitStruct.Speed = GPIO_SPEED_FREQ_VERY_HIGH;
  GPIO_InitStruct.Alternate = GPIO_AF12_FMC;
  HAL_GPIO_Init(GPIOG, &GPIO_InitStruct);

  /*Configure GPIO pins : LD_USER1_Pin Audio_INT_Pin WIFI_RST_Pin ARD_D8_Pin
                           LD_USER2_Pin ARD_D7_Pin ARD_D4_Pin ARD_D2_Pin */
  GPIO_InitStruct.Pin = LD_USER1_Pin|Audio_INT_Pin|WIFI_RST_Pin|ARD_D8_Pin
                          |LD_USER2_Pin|ARD_D7_Pin|ARD_D4_Pin|ARD_D2_Pin;
  GPIO_InitStruct.Mode = GPIO_MODE_INPUT;
  GPIO_InitStruct.Pull = GPIO_NOPULL;
  HAL_GPIO_Init(GPIOJ, &GPIO_InitStruct);

  /*Configure GPIO pins : FMC_D2_Pin FMC_D3_Pin FMC_D1_Pin FMC_D15_Pin
                           FMC_D0_Pin FMC_D14_Pin FMC_D13_Pin */
  GPIO_InitStruct.Pin = FMC_D2_Pin|FMC_D3_Pin|FMC_D1_Pin|FMC_D15_Pin
                          |FMC_D0_Pin|FMC_D14_Pin|FMC_D13_Pin;
  GPIO_InitStruct.Mode = GPIO_MODE_AF_PP;
  GPIO_InitStruct.Pull = GPIO_NOPULL;
  GPIO_InitStruct.Speed = GPIO_SPEED_FREQ_VERY_HIGH;
  GPIO_InitStruct.Alternate = GPIO_AF12_FMC;
  HAL_GPIO_Init(GPIOD, &GPIO_InitStruct);

  /*Configure GPIO pin : DFSDM_DATIN5_Pin */
  GPIO_InitStruct.Pin = DFSDM_DATIN5_Pin;
  GPIO_InitStruct.Mode = GPIO_MODE_AF_PP;
  GPIO_InitStruct.Pull = GPIO_NOPULL;
  GPIO_InitStruct.Speed = GPIO_SPEED_FREQ_LOW;
  GPIO_InitStruct.Alternate = GPIO_AF3_DFSDM1;
  HAL_GPIO_Init(DFSDM_DATIN5_GPIO_Port, &GPIO_InitStruct);

  /*Configure GPIO pins : QSPI_D1_Pin QSPI_D0_Pin */
  GPIO_InitStruct.Pin = QSPI_D1_Pin|QSPI_D0_Pin;
  GPIO_InitStruct.Mode = GPIO_MODE_AF_PP;
  GPIO_InitStruct.Pull = GPIO_NOPULL;
  GPIO_InitStruct.Speed = GPIO_SPEED_FREQ_VERY_HIGH;
  GPIO_InitStruct.Alternate = GPIO_AF9_QUADSPI;
  HAL_GPIO_Init(GPIOC, &GPIO_InitStruct);

  /*Configure GPIO pins : PA12 PA11 */
  GPIO_InitStruct.Pin = GPIO_PIN_12|GPIO_PIN_11;
  GPIO_InitStruct.Mode = GPIO_MODE_OUTPUT_PP;
  GPIO_InitStruct.Pull = GPIO_NOPULL;
  GPIO_InitStruct.Speed = GPIO_SPEED_FREQ_LOW;
  HAL_GPIO_Init(GPIOA, &GPIO_InitStruct);

  /*Configure GPIO pins : NC4_Pin NC5_Pin uSD_Detect_Pin LCD_BL_CTRL_Pin */
  GPIO_InitStruct.Pin = NC4_Pin|NC5_Pin|uSD_Detect_Pin|LCD_BL_CTRL_Pin;
  GPIO_InitStruct.Mode = GPIO_MODE_INPUT;
  GPIO_InitStruct.Pull = GPIO_NOPULL;
  HAL_GPIO_Init(GPIOI, &GPIO_InitStruct);

  /*Configure GPIO pins : FMC_NBL2_Pin D27_Pin D26_Pin FMC_NBL3_Pin
                           D31_Pin D28_Pin D25_Pin D30_Pin
                           D24_Pin */
  GPIO_InitStruct.Pin = FMC_NBL2_Pin|D27_Pin|D26_Pin|FMC_NBL3_Pin
                          |D31_Pin|D28_Pin|D25_Pin|D30_Pin
                          |D24_Pin;
  GPIO_InitStruct.Mode = GPIO_MODE_AF_PP;
  GPIO_InitStruct.Pull = GPIO_NOPULL;
  GPIO_InitStruct.Speed = GPIO_SPEED_FREQ_VERY_HIGH;
  GPIO_InitStruct.Alternate = GPIO_AF12_FMC;
  HAL_GPIO_Init(GPIOI, &GPIO_InitStruct);

  /*Configure GPIO pins : NC3_Pin NC2_Pin NC1_Pin NC8_Pin
                           NC7_Pin */
  GPIO_InitStruct.Pin = NC3_Pin|NC2_Pin|NC1_Pin|NC8_Pin
                          |NC7_Pin;
  GPIO_InitStruct.Mode = GPIO_MODE_INPUT;
  GPIO_InitStruct.Pull = GPIO_NOPULL;
  HAL_GPIO_Init(GPIOK, &GPIO_InitStruct);

  /*Configure GPIO pins : uSD_D1_Pin uSD_D0_Pin */
  GPIO_InitStruct.Pin = uSD_D1_Pin|uSD_D0_Pin;
  GPIO_InitStruct.Mode = GPIO_MODE_AF_PP;
  GPIO_InitStruct.Pull = GPIO_NOPULL;
  GPIO_InitStruct.Speed = GPIO_SPEED_FREQ_VERY_HIGH;
  GPIO_InitStruct.Alternate = GPIO_AF11_SDMMC2;
  HAL_GPIO_Init(GPIOG, &GPIO_InitStruct);

  /*Configure GPIO pins : RMII_RXER_Pin OTG_FS_OverCurrent_Pin */
  GPIO_InitStruct.Pin = RMII_RXER_Pin|OTG_FS_OverCurrent_Pin;
  GPIO_InitStruct.Mode = GPIO_MODE_INPUT;
  GPIO_InitStruct.Pull = GPIO_NOPULL;
  HAL_GPIO_Init(GPIOD, &GPIO_InitStruct);

  /*Configure GPIO pin : DFSDM_CKOUT_Pin */
  GPIO_InitStruct.Pin = DFSDM_CKOUT_Pin;
  GPIO_InitStruct.Mode = GPIO_MODE_AF_PP;
  GPIO_InitStruct.Pull = GPIO_NOPULL;
  GPIO_InitStruct.Speed = GPIO_SPEED_FREQ_LOW;
  GPIO_InitStruct.Alternate = GPIO_AF3_DFSDM1;
  HAL_GPIO_Init(DFSDM_CKOUT_GPIO_Port, &GPIO_InitStruct);

  /*Configure GPIO pins : FMC_A0_Pin FMC_A1_Pin FMC_A2_Pin FMC_A3_Pin
                           FMC_A4_Pin FMC_A5_Pin FMC_A6_Pin FMC_A9_Pin
                           FMC_A7_Pin FMC_A8_Pin FMC_SDNRAS_Pin */
  GPIO_InitStruct.Pin = FMC_A0_Pin|FMC_A1_Pin|FMC_A2_Pin|FMC_A3_Pin
                          |FMC_A4_Pin|FMC_A5_Pin|FMC_A6_Pin|FMC_A9_Pin
                          |FMC_A7_Pin|FMC_A8_Pin|FMC_SDNRAS_Pin;
  GPIO_InitStruct.Mode = GPIO_MODE_AF_PP;
  GPIO_InitStruct.Pull = GPIO_NOPULL;
  GPIO_InitStruct.Speed = GPIO_SPEED_FREQ_VERY_HIGH;
  GPIO_InitStruct.Alternate = GPIO_AF12_FMC;
  HAL_GPIO_Init(GPIOF, &GPIO_InitStruct);

  /*Configure GPIO pin : DSI_RESET_Pin */
  GPIO_InitStruct.Pin = DSI_RESET_Pin;
  GPIO_InitStruct.Mode = GPIO_MODE_OUTPUT_PP;
  GPIO_InitStruct.Pull = GPIO_NOPULL;
  GPIO_InitStruct.Speed = GPIO_SPEED_FREQ_LOW;
  HAL_GPIO_Init(DSI_RESET_GPIO_Port, &GPIO_InitStruct);

  /*Configure GPIO pin : WIFI_TX_Pin */
  GPIO_InitStruct.Pin = WIFI_TX_Pin;
  GPIO_InitStruct.Mode = GPIO_MODE_AF_PP;
  GPIO_InitStruct.Pull = GPIO_NOPULL;
  GPIO_InitStruct.Speed = GPIO_SPEED_FREQ_VERY_HIGH;
  GPIO_InitStruct.Alternate = GPIO_AF8_UART5;
  HAL_GPIO_Init(WIFI_TX_GPIO_Port, &GPIO_InitStruct);

  /*Configure GPIO pins : D23_Pin D21_Pin D22_Pin FMC_SDNME_Pin
                           FMC_SDNE0_Pin FMC_SDCKE0_Pin D20_Pin FMC_D_7_Pin
                           FMC_D19_Pin FMC_D16_Pin FMC_D18_Pin */
  GPIO_InitStruct.Pin = D23_Pin|D21_Pin|D22_Pin|FMC_SDNME_Pin
                          |FMC_SDNE0_Pin|FMC_SDCKE0_Pin|D20_Pin|FMC_D_7_Pin
                          |FMC_D19_Pin|FMC_D16_Pin|FMC_D18_Pin;
  GPIO_InitStruct.Mode = GPIO_MODE_AF_PP;
  GPIO_InitStruct.Pull = GPIO_NOPULL;
  GPIO_InitStruct.Speed = GPIO_SPEED_FREQ_VERY_HIGH;
  GPIO_InitStruct.Alternate = GPIO_AF12_FMC;
  HAL_GPIO_Init(GPIOH, &GPIO_InitStruct);

  /*Configure GPIO pin : ULPI_DIR_Pin */
  GPIO_InitStruct.Pin = ULPI_DIR_Pin;
  GPIO_InitStruct.Mode = GPIO_MODE_AF_PP;
  GPIO_InitStruct.Pull = GPIO_NOPULL;
  GPIO_InitStruct.Speed = GPIO_SPEED_FREQ_VERY_HIGH;
  GPIO_InitStruct.Alternate = GPIO_AF10_OTG_HS;
  HAL_GPIO_Init(ULPI_DIR_GPIO_Port, &GPIO_InitStruct);

  /*Configure GPIO pin : CEC_CLK_Pin */
  GPIO_InitStruct.Pin = CEC_CLK_Pin;
  GPIO_InitStruct.Mode = GPIO_MODE_AF_PP;
  GPIO_InitStruct.Pull = GPIO_NOPULL;
  GPIO_InitStruct.Speed = GPIO_SPEED_FREQ_LOW;
  GPIO_InitStruct.Alternate = GPIO_AF0_MCO;
  HAL_GPIO_Init(CEC_CLK_GPIO_Port, &GPIO_InitStruct);

  /*Configure GPIO pin : LCD_INT_Pin */
  GPIO_InitStruct.Pin = LCD_INT_Pin;
  GPIO_InitStruct.Mode = GPIO_MODE_EVT_RISING;
  GPIO_InitStruct.Pull = GPIO_NOPULL;
  HAL_GPIO_Init(LCD_INT_GPIO_Port, &GPIO_InitStruct);

  /*Configure GPIO pin : ARD_D5_PWM_Pin */
  GPIO_InitStruct.Pin = ARD_D5_PWM_Pin;
  GPIO_InitStruct.Mode = GPIO_MODE_AF_PP;
  GPIO_InitStruct.Pull = GPIO_NOPULL;
  GPIO_InitStruct.Speed = GPIO_SPEED_FREQ_LOW;
  GPIO_InitStruct.Alternate = GPIO_AF2_TIM3;
  HAL_GPIO_Init(ARD_D5_PWM_GPIO_Port, &GPIO_InitStruct);

  /*Configure GPIO pins : ARD_D0_RX_Pin ARDUINO_TX_D1_Pin */
  GPIO_InitStruct.Pin = ARD_D0_RX_Pin|ARDUINO_TX_D1_Pin;
  GPIO_InitStruct.Mode = GPIO_MODE_AF_PP;
  GPIO_InitStruct.Pull = GPIO_NOPULL;
  GPIO_InitStruct.Speed = GPIO_SPEED_FREQ_VERY_HIGH;
  GPIO_InitStruct.Alternate = GPIO_AF8_USART6;
  HAL_GPIO_Init(GPIOC, &GPIO_InitStruct);

  /*Configure GPIO pin : ULPI_NXT_Pin */
  GPIO_InitStruct.Pin = ULPI_NXT_Pin;
  GPIO_InitStruct.Mode = GPIO_MODE_AF_PP;
  GPIO_InitStruct.Pull = GPIO_NOPULL;
  GPIO_InitStruct.Speed = GPIO_SPEED_FREQ_VERY_HIGH;
  GPIO_InitStruct.Alternate = GPIO_AF10_OTG_HS;
  HAL_GPIO_Init(ULPI_NXT_GPIO_Port, &GPIO_InitStruct);

  /*Configure GPIO pin : SAI1_MCLKA_Pin */
  GPIO_InitStruct.Pin = SAI1_MCLKA_Pin;
  GPIO_InitStruct.Mode = GPIO_MODE_AF_PP;
  GPIO_InitStruct.Pull = GPIO_NOPULL;
  GPIO_InitStruct.Speed = GPIO_SPEED_FREQ_LOW;
  GPIO_InitStruct.Alternate = GPIO_AF6_SAI1;
  HAL_GPIO_Init(SAI1_MCLKA_GPIO_Port, &GPIO_InitStruct);

  /*Configure GPIO pins : EXT_SDA_Pin EXT_SCL_Pin */
  GPIO_InitStruct.Pin = EXT_SDA_Pin|EXT_SCL_Pin;
  GPIO_InitStruct.Mode = GPIO_MODE_INPUT;
  GPIO_InitStruct.Pull = GPIO_NOPULL;
  HAL_GPIO_Init(GPIOG, &GPIO_InitStruct);

  /*Configure GPIO pin : ARD_D6_PWM_Pin */
  GPIO_InitStruct.Pin = ARD_D6_PWM_Pin;
  GPIO_InitStruct.Mode = GPIO_MODE_AF_PP;
  GPIO_InitStruct.Pull = GPIO_NOPULL;
  GPIO_InitStruct.Speed = GPIO_SPEED_FREQ_LOW;
  GPIO_InitStruct.Alternate = GPIO_AF3_TIM11;
  HAL_GPIO_Init(ARD_D6_PWM_GPIO_Port, &GPIO_InitStruct);

  /*Configure GPIO pin : ARD_D3_PWM_Pin */
  GPIO_InitStruct.Pin = ARD_D3_PWM_Pin;
  GPIO_InitStruct.Mode = GPIO_MODE_AF_PP;
  GPIO_InitStruct.Pull = GPIO_NOPULL;
  GPIO_InitStruct.Speed = GPIO_SPEED_FREQ_LOW;
  GPIO_InitStruct.Alternate = GPIO_AF3_TIM10;
  HAL_GPIO_Init(ARD_D3_PWM_GPIO_Port, &GPIO_InitStruct);

  /*Configure GPIO pins : ARDUINO_A1_Pin ARDUINO_A2_Pin ARDUINO_A3_Pin */
  GPIO_InitStruct.Pin = ARDUINO_A1_Pin|ARDUINO_A2_Pin|ARDUINO_A3_Pin;
  GPIO_InitStruct.Mode = GPIO_MODE_ANALOG;
  GPIO_InitStruct.Pull = GPIO_NOPULL;
  HAL_GPIO_Init(GPIOF, &GPIO_InitStruct);

  /*Configure GPIO pin : ULPI_STP_Pin */
  GPIO_InitStruct.Pin = ULPI_STP_Pin;
  GPIO_InitStruct.Mode = GPIO_MODE_AF_PP;
  GPIO_InitStruct.Pull = GPIO_NOPULL;
  GPIO_InitStruct.Speed = GPIO_SPEED_FREQ_VERY_HIGH;
  GPIO_InitStruct.Alternate = GPIO_AF10_OTG_HS;
  HAL_GPIO_Init(ULPI_STP_GPIO_Port, &GPIO_InitStruct);

  /*Configure GPIO pins : RMII_MDC_Pin RMII_RXD0_Pin RMII_RXD1_Pin */
  GPIO_InitStruct.Pin = RMII_MDC_Pin|RMII_RXD0_Pin|RMII_RXD1_Pin;
  GPIO_InitStruct.Mode = GPIO_MODE_AF_PP;
  GPIO_InitStruct.Pull = GPIO_NOPULL;
  GPIO_InitStruct.Speed = GPIO_SPEED_FREQ_VERY_HIGH;
  GPIO_InitStruct.Alternate = GPIO_AF11_ETH;
  HAL_GPIO_Init(GPIOC, &GPIO_InitStruct);

  /*Configure GPIO pin : ARD_A2_Pin */
  GPIO_InitStruct.Pin = ARD_A2_Pin;
  GPIO_InitStruct.Mode = GPIO_MODE_ANALOG;
  GPIO_InitStruct.Pull = GPIO_NOPULL;
  HAL_GPIO_Init(ARD_A2_GPIO_Port, &GPIO_InitStruct);

  /*Configure GPIO pin : PB2 */
  GPIO_InitStruct.Pin = GPIO_PIN_2;
  GPIO_InitStruct.Mode = GPIO_MODE_AF_PP;
  GPIO_InitStruct.Pull = GPIO_NOPULL;
  GPIO_InitStruct.Speed = GPIO_SPEED_FREQ_VERY_HIGH;
  GPIO_InitStruct.Alternate = GPIO_AF9_QUADSPI;
  HAL_GPIO_Init(GPIOB, &GPIO_InitStruct);

  /*Configure GPIO pin : QSPI_D3_Pin */
  GPIO_InitStruct.Pin = QSPI_D3_Pin;
  GPIO_InitStruct.Mode = GPIO_MODE_AF_PP;
  GPIO_InitStruct.Pull = GPIO_NOPULL;
  GPIO_InitStruct.Speed = GPIO_SPEED_FREQ_VERY_HIGH;
  GPIO_InitStruct.Alternate = GPIO_AF9_QUADSPI;
  HAL_GPIO_Init(QSPI_D3_GPIO_Port, &GPIO_InitStruct);

  /*Configure GPIO pins : RMII_REF_CLK_Pin RMII_MDIO_Pin RMII_CRS_DV_Pin */
  GPIO_InitStruct.Pin = RMII_REF_CLK_Pin|RMII_MDIO_Pin|RMII_CRS_DV_Pin;
  GPIO_InitStruct.Mode = GPIO_MODE_AF_PP;
  GPIO_InitStruct.Pull = GPIO_NOPULL;
  GPIO_InitStruct.Speed = GPIO_SPEED_FREQ_VERY_HIGH;
  GPIO_InitStruct.Alternate = GPIO_AF11_ETH;
  HAL_GPIO_Init(GPIOA, &GPIO_InitStruct);

  /*Configure GPIO pin : B_USER_Pin */
  GPIO_InitStruct.Pin = B_USER_Pin;
  GPIO_InitStruct.Mode = GPIO_MODE_IT_RISING;
  GPIO_InitStruct.Pull = GPIO_NOPULL;
  HAL_GPIO_Init(B_USER_GPIO_Port, &GPIO_InitStruct);

  /*Configure GPIO pins : ARD_A1_Pin ARD_A0_Pin */
  GPIO_InitStruct.Pin = ARD_A1_Pin|ARD_A0_Pin;
  GPIO_InitStruct.Mode = GPIO_MODE_ANALOG;
  GPIO_InitStruct.Pull = GPIO_NOPULL;
  HAL_GPIO_Init(GPIOA, &GPIO_InitStruct);

  /*Configure GPIO pin : SPDIF_TX_Pin */
  GPIO_InitStruct.Pin = SPDIF_TX_Pin;
  GPIO_InitStruct.Mode = GPIO_MODE_AF_PP;
  GPIO_InitStruct.Pull = GPIO_NOPULL;
  GPIO_InitStruct.Speed = GPIO_SPEED_FREQ_LOW;
  GPIO_InitStruct.Alternate = GPIO_AF10_SAI2;
  HAL_GPIO_Init(SPDIF_TX_GPIO_Port, &GPIO_InitStruct);

  /*Configure GPIO pin : PH7 */
  GPIO_InitStruct.Pin = GPIO_PIN_7;
  GPIO_InitStruct.Mode = GPIO_MODE_INPUT;
  GPIO_InitStruct.Pull = GPIO_NOPULL;
  HAL_GPIO_Init(GPIOH, &GPIO_InitStruct);

  /*Configure GPIO pins : ULPI_CLK_Pin ULPI_D0_Pin */
  GPIO_InitStruct.Pin = ULPI_CLK_Pin|ULPI_D0_Pin;
  GPIO_InitStruct.Mode = GPIO_MODE_AF_PP;
  GPIO_InitStruct.Pull = GPIO_NOPULL;
  GPIO_InitStruct.Speed = GPIO_SPEED_FREQ_VERY_HIGH;
  GPIO_InitStruct.Alternate = GPIO_AF10_OTG_HS;
  HAL_GPIO_Init(GPIOA, &GPIO_InitStruct);

  /*Configure GPIO pin : DSIHOST_TE_Pin */
  GPIO_InitStruct.Pin = DSIHOST_TE_Pin;
  GPIO_InitStruct.Mode = GPIO_MODE_AF_PP;
  GPIO_InitStruct.Pull = GPIO_NOPULL;
  GPIO_InitStruct.Speed = GPIO_SPEED_FREQ_LOW;
  GPIO_InitStruct.Alternate = GPIO_AF13_DSI;
  HAL_GPIO_Init(DSIHOST_TE_GPIO_Port, &GPIO_InitStruct);

  /*Configure GPIO pin : ARDUINO_PWM_D6_Pin */
  GPIO_InitStruct.Pin = ARDUINO_PWM_D6_Pin;
  GPIO_InitStruct.Mode = GPIO_MODE_AF_PP;
  GPIO_InitStruct.Pull = GPIO_NOPULL;
  GPIO_InitStruct.Speed = GPIO_SPEED_FREQ_LOW;
  GPIO_InitStruct.Alternate = GPIO_AF9_TIM12;
  HAL_GPIO_Init(ARDUINO_PWM_D6_GPIO_Port, &GPIO_InitStruct);

  /*Configure GPIO pins : PB14 PB15 */
  GPIO_InitStruct.Pin = GPIO_PIN_14|GPIO_PIN_15;
  GPIO_InitStruct.Mode = GPIO_MODE_OUTPUT_PP;
  GPIO_InitStruct.Pull = GPIO_NOPULL;
  GPIO_InitStruct.Speed = GPIO_SPEED_FREQ_LOW;
  HAL_GPIO_Init(GPIOB, &GPIO_InitStruct);

}

void HAL_TIM_PeriodElapsedCallback(TIM_HandleTypeDef *htim)
{
  if (htim->Instance == TIM6) {
    HAL_IncTick();
  }
}

void Error_Handler(void)
{
}

/************************ (C) COPYRIGHT STMicroelectronics *****END OF FILE****/
